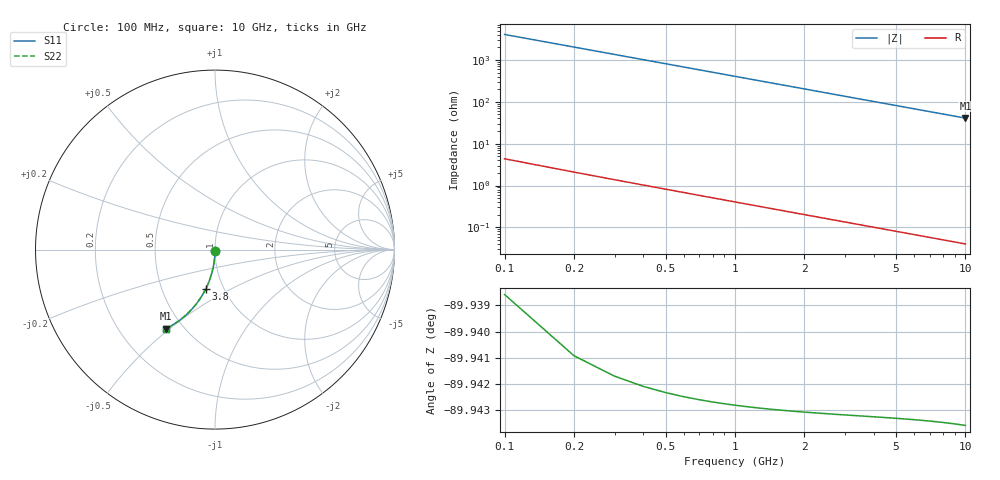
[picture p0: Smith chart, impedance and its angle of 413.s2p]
# Hz S RI R 50.00
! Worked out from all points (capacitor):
!   100 points, 100 MHz to 10 GHz, reference 50 ohm
!   read as one part in shunt: C = 391 fF near 100 MHz
!   lowest |Z| = 40.9 ohm at 10 GHz (marker M1)
!   S11 on the Smith chart (normalised r, x): 100 MHz: 1.00, -0.01; 3.8 GHz: 0.82, -0.38; 10 GHz: 0.40, -0.49
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1e8  -2.96e-05 -0.0061  0.9999 -0.00619  0.9999 -0.00619  -2.96e-05 -0.0061
2e8  -0.000149 -0.0122  0.9998 -0.0124  0.9998 -0.0124  -0.000149 -0.0122
3e8  -0.000344 -0.0183  0.9996 -0.0186  0.9996 -0.0186  -0.000344 -0.0183
4e8  -0.000614 -0.0244  0.9994 -0.0247  0.9994 -0.0247  -0.000614 -0.0244
5e8  -0.000959 -0.0305  0.999 -0.0309  0.999 -0.0309  -0.000959 -0.0305
6e8  -0.00138 -0.0366  0.9986 -0.0371  0.9986 -0.0371  -0.00138 -0.0366
7e8  -0.00187 -0.0426  0.9981 -0.0432  0.9981 -0.0432  -0.00187 -0.0426
8e8  -0.00244 -0.0487  0.9975 -0.0494  0.9975 -0.0494  -0.00244 -0.0487
9e8  -0.00309 -0.0547  0.9969 -0.0555  0.9969 -0.0555  -0.00309 -0.0547
1.1e9  -0.0046 -0.0668  0.9954 -0.0678  0.9954 -0.0678  -0.0046 -0.0668
1.4e9  -0.00741 -0.0848  0.9926 -0.086  0.9926 -0.086  -0.00741 -0.0848
1.8e9  -0.0122 -0.1084  0.9878 -0.11  0.9878 -0.11  -0.0122 -0.1084
2.1e9  -0.0165 -0.1259  0.9835 -0.1278  0.9835 -0.1278  -0.0165 -0.1259
2.5e9  -0.0232 -0.1489  0.9768 -0.1511  0.9768 -0.1511  -0.0232 -0.1489
2.9e9  -0.0309 -0.1713  0.9691 -0.1738  0.9691 -0.1738  -0.0309 -0.1713
3.4e9  -0.0419 -0.1985  0.958 -0.2015  0.958 -0.2015  -0.0419 -0.1985
3.8e9  -0.0518 -0.2195  0.9482 -0.2228  0.9482 -0.2228  -0.0518 -0.2195
4.4e9  -0.0682 -0.2496  0.9318 -0.2535  0.9318 -0.2535  -0.0682 -0.2496
5.1e9  -0.0894 -0.2826  0.9106 -0.2871  0.9106 -0.2871  -0.0894 -0.2826
6.7e9  -0.1446 -0.3483  0.8553 -0.3543  0.8553 -0.3543  -0.1446 -0.3483
8.4e9  -0.2097 -0.4028  0.7903 -0.4104  0.7903 -0.4104  -0.2097 -0.4028
1e10  -0.2729 -0.4405  0.727 -0.4495  0.727 -0.4495  -0.2729 -0.4405
